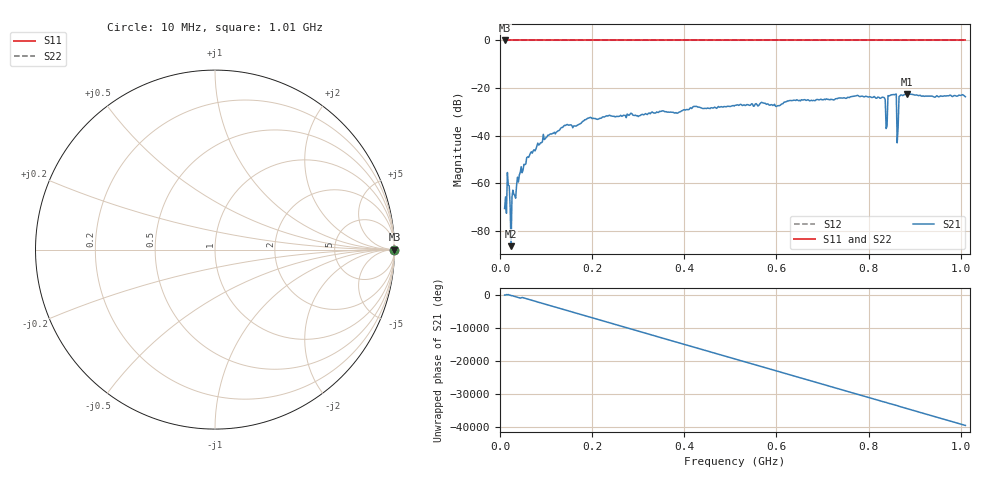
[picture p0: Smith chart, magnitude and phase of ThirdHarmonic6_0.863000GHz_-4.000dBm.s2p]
! 8/16/2025 4:30:48 AM
! C:\ANRITSUVNA\TEMP\TEMP.S2P
! CHANNEL.1
! TR.MEASUREMENT
! RAW.DATA
! RF.CORRECTION.OFF
! AVERAGING.OFF
! IF.BANDWIDTH: 5KHZ
! SWEEPTYPE:  FREQ.SWEEP(Linear)
! Reference Plane Port Info
! PORT:  PORT1  PORT2
! DISTANCE:  0  m  0  m
! TIME:  0  s  0  s
! PHASE.OFFSET:  0  deg.  0  deg.
! LOSS:  0  dB  0  dB
! REF.LOSS:  0  dB  0  dB
! REF.FREQ:  0  Hz  0  Hz
! Power Info
! POWER:  -20  dBm  -20  dBm
! EFF.POWER:  -20  dBm  -20  dBm
! SOURCE.ATTEN:  0  dB  0  dB
! TEST.ATTEN:  0  dB  0  dB
# GHZ S RI R 50.0
! FREQ.GHZ  S11RE  S11IM  S21RE  S21IM  S12RE  S12IM  S22RE  S22IM
!; PortSelection: Port_12
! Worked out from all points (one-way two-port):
!   501 points, 10 MHz to 1.01 GHz, reference 50 ohm
!   highest |S21| = -22.48 dB at 884 MHz (marker M1); lowest = -86.3 dB at 24 MHz (marker M2)
!   lowest |S11| = 0.0 dB at 10 MHz (marker M3)
!   |S11| at or under -10 dB: nowhere
!   |S22| runs from 0.0 to 0.0 dB; largest |S21 - S12| = 1.1
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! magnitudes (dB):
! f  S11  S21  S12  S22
! 10 MHz  0.0  -70.5  0.0  0.0
! 16 MHz  0.0  -55.4  0.0  0.0
! 24 MHz  0.0  -86.3  0.0  0.0
! 28 MHz  0.0  -62.8  0.0  0.0
! 42 MHz  0.0  -56.5  0.0  0.0
! 84 MHz  0.0  -43.9  0.0  0.0
! 142 MHz  0.0  -35.7  0.0  0.0
! 178 MHz  0.0  -34.3  0.0  0.0
! 344 MHz  0.0  -30.2  0.0  0.0
! 510 MHz  0.0  -27.2  0.0  0.0
! 678 MHz  0.0  -25.3  0.0  0.0
! 830 MHz  0.0  -23.8  0.0  0.0
! 836 MHz  0.0  -24.8  0.0  0.0
! 842 MHz  0.0  -23.1  0.0  0.0
! 844 MHz  0.0  -23.3  0.0  0.0
! 846 MHz  0.0  -23.1  0.0  0.0
! 856 MHz  0.0  -22.8  0.0  0.0
! 860 MHz  0.0  -22.5  0.0  0.0
! 866 MHz  0.0  -23.6  0.0  0.0
! 870 MHz  0.0  -22.9  0.0  0.0
! 884 MHz  0.0  -22.5  0.0  0.0
! 1.01 GHz  0.0  -23.6  0.0  0.0
